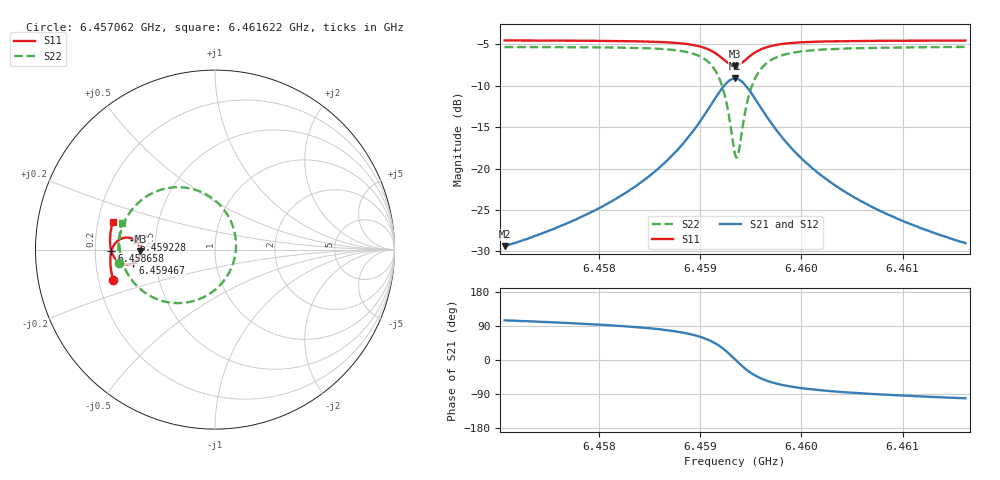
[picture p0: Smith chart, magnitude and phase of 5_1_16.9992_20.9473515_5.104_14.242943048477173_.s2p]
#  HZ  S  RI  R  50.00
! Rohde & Schwarz Vector Network Analyzer
! Rohde-Schwarz,ZNB20-2Port,1311601062101988,3.16
! Created: UTC 3/20/2024, 10:52:14 PM
! freq[Hz]  re:S11  im:S11  re:S21  im:S21  re:S12  im:S12  re:S22  im:S22
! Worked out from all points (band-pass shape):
!   401 points, 6.457062 GHz to 6.461622 GHz, reference 50 ohm
!   highest |S21| = -9.14 dB at 6.459342 GHz (marker M1); lowest = -29.4 dB at 6.457062 GHz (marker M2)
!   |S21| within 3 dB of the highest: 6.459114 GHz to 6.45957 GHz (455.9 kHz wide, 0.00706 % of centre)
!   lowest |S11| = -7.6 dB at 6.459342 GHz (marker M3), VSWR 2.42, Z = 20.6 - j0.398 ohm
!   |S11| at or under -10 dB: nowhere
!   |S22| runs from -18.7 to -5.3 dB; largest |S21 - S12| = 0.014
!   S11 on the Smith chart (normalised r, x): 6.457062 GHz: 0.26, -0.13; 6.458658 GHz: 0.27, -0.01; 6.459228 GHz: 0.38, +0.05; 6.459467 GHz: 0.37, -0.07; 6.461622 GHz: 0.26, +0.12
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6.4570616e9  -0.5678 -0.167  -0.00867 0.0329  -0.00689 0.0329  -0.5345 -0.077
6.4578256e9  -0.5812 -0.1  -0.00499 0.051  -0.0025 0.0503  -0.5387 0.013
6.458236e9  -0.5836 -0.0588  0.00096 0.0698  0.00401 0.0685  -0.5298 0.0783
6.4585895e9  -0.5794 -0.0163  0.0154 0.0996  0.0194 0.0967  -0.5029 0.1582
6.4586579e9  -0.5771 -0.00684  0.0209 0.108  0.025 0.1048  -0.4924 0.178
6.4588518e9  -0.5641 0.0236  0.0479 0.139  0.0521 0.1341  -0.4413 0.247
6.459e9  -0.541 0.0499  0.094 0.1693  0.0972 0.1627  -0.3564 0.3109
6.4591368e9  -0.4965 0.067  0.1823 0.1852  0.1834 0.1779  -0.1948 0.3476
6.459228e9  -0.4515 0.0563  0.2727 0.1527  0.2733 0.1468  -0.0274 0.294
6.4592964e9  -0.4224 0.0236  0.3331 0.0794  0.3356 0.0738  0.0871 0.1615
6.459342e9  -0.4156 -0.00797  0.3489 0.0108  0.3527 0.00313  0.1172 0.0326
6.4593534e9  -0.4161 -0.016  0.3486 -0.00722  0.3524 -0.0154  0.1164 -0.00127
6.4593762e9  -0.4198 -0.0319  0.3425 -0.0421  0.3463 -0.052  0.1041 -0.0673
6.4594219e9  -0.4357 -0.0582  0.313 -0.1025  0.3149 -0.1147  0.044 -0.1804
6.4594675e9  -0.458 -0.0746  0.2701 -0.1433  0.2689 -0.1569  -0.043 -0.2544
6.4595587e9  -0.502 -0.0813  0.1843 -0.1738  0.1777 -0.1854  -0.2137 -0.2981
6.4597069e9  -0.5463 -0.0606  0.0958 -0.1591  0.087 -0.1651  -0.3814 -0.2461
6.4598665e9  -0.5679 -0.0327  0.0507 -0.1304  0.043 -0.133  -0.4615 -0.1725
6.460106e9  -0.5806 0.00279  0.0217 -0.0984  0.0157 -0.0988  -0.5086 -0.0891
6.460448e9  -0.5849 0.0438  0.00576 -0.0711  0.00162 -0.0706  -0.5293 -0.00978
6.4608699e9  -0.583 0.0865  -0.00183 -0.0523  -0.00465 -0.0514  -0.5328 0.0585
6.4616224e9  -0.5706 0.1531  -0.00676 -0.0348  -0.00854 -0.0338  -0.5207 0.1479
